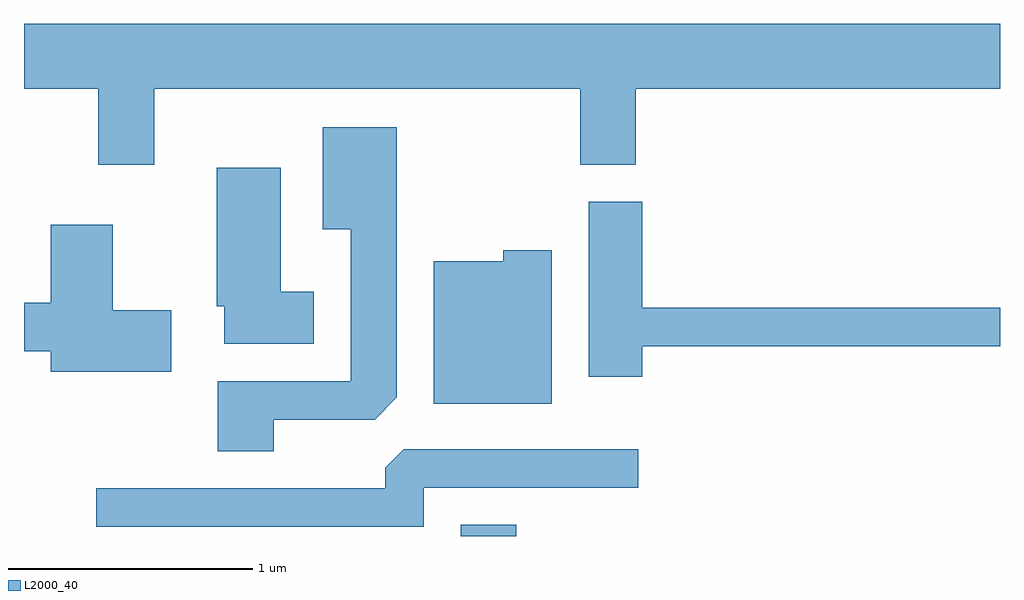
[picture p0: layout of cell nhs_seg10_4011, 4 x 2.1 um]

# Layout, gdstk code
import gdstk
lib = gdstk.Library(unit=1e-6, precision=1e-09)
def R(c, l, rs):  # rectangles x0, y0, x1, y1
    for r in rs: c.add(gdstk.rectangle(r[:2], r[2:], *l))
def P(c, l, *ps):  # polygons
    for p in ps: c.add(gdstk.Polygon(p, *l))
L2000_40 = (2000, 40)

nhs_seg10_4011 = lib.new_cell('nhs_seg10_4011')
R(nhs_seg10_4011, L2000_40, [(305.401,2116.522,305.629,2116.569)])
P(nhs_seg10_4011, L2000_40, [(303.611,2118.356),(303.916,2118.356),(303.916,2118.046),(304.144,2118.046),(304.144,2118.356),(305.891,2118.356),(305.891,2118.046),(306.119,2118.046),(306.119,2118.356),(307.611,2118.356),(307.611,2118.624),(303.611,2118.624)],
  [(304.634,2117.001),(305.049,2117.001),(305.139,2117.092),(305.139,2118.199),(304.836,2118.199),(304.836,2117.781),(304.951,2117.781),(304.951,2117.159),(304.406,2117.159),(304.406,2116.871),(304.634,2116.871)],
  [(304.799,2117.524),(304.664,2117.524),(304.664,2118.034),(304.401,2118.034),(304.401,2117.466),(304.431,2117.466),(304.431,2117.311),(304.799,2117.311)],
  [(306.144,2117.301),(307.611,2117.301),(307.611,2117.459),(306.144,2117.459),(306.144,2117.894),(305.926,2117.894),(305.926,2117.176),(306.144,2117.176)],
  [(304.214,2117.449),(303.974,2117.449),(303.974,2117.799),(303.721,2117.799),(303.721,2117.479),(303.611,2117.479),(303.611,2117.281),(303.721,2117.281),(303.721,2117.196),(304.214,2117.196)],
  [(305.774,2117.694),(305.576,2117.694),(305.576,2117.649),(305.291,2117.649),(305.291,2117.066),(305.774,2117.066)],
  [(305.249,2116.721),(306.128,2116.721),(306.128,2116.879),(305.167,2116.879),(305.091,2116.804),(305.091,2116.719),(303.908,2116.719),(303.908,2116.561),(305.249,2116.561)])

lib.write_gds('nhs_seg10_4011.gds')
